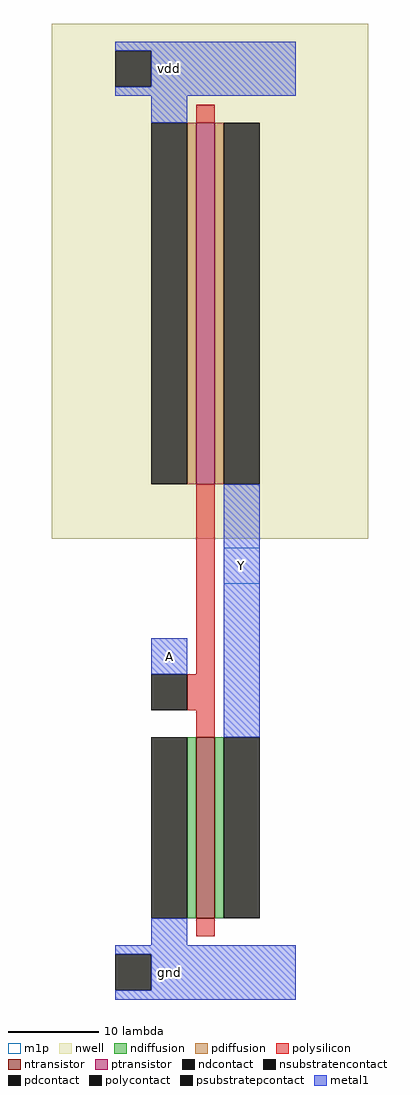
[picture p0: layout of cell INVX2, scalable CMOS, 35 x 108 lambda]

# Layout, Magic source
magic
tech scmos
<< nwell >>
rect -9 48 26 105
<< ntransistor >>
rect 7 6 9 26
<< ptransistor >>
rect 7 54 9 94
<< ndiffusion >>
rect 6 6 7 26
rect 9 6 10 26
<< pdiffusion >>
rect 6 54 7 94
rect 9 54 10 94
<< ndcontact >>
rect 2 6 6 26
rect 10 6 14 26
<< pdcontact >>
rect 2 54 6 94
rect 10 54 14 94
<< psubstratepcontact >>
rect -2 -2 2 2
<< nsubstratencontact >>
rect -2 98 2 102
<< polysilicon >>
rect 7 94 9 96
rect 7 33 9 54
rect 6 29 9 33
rect 7 26 9 29
rect 7 4 9 6
<< polycontact >>
rect 2 29 6 33
<< metal1 >>
rect -2 102 18 103
rect 2 98 18 102
rect -2 97 18 98
rect 2 94 6 97
rect 2 33 6 37
rect 10 26 14 54
rect 2 3 6 6
rect -2 2 18 3
rect 2 -2 18 2
rect -2 -3 18 -2
<< m1p >>
rect 10 43 14 47
rect 2 33 6 37
<< labels >>
rlabel metal1 4 100 4 100 6 vdd
rlabel metal1 4 0 4 0 8 gnd
rlabel m1p 12 45 12 45 6 Y
rlabel m1p 4 35 4 35 6 A
<< end >>
